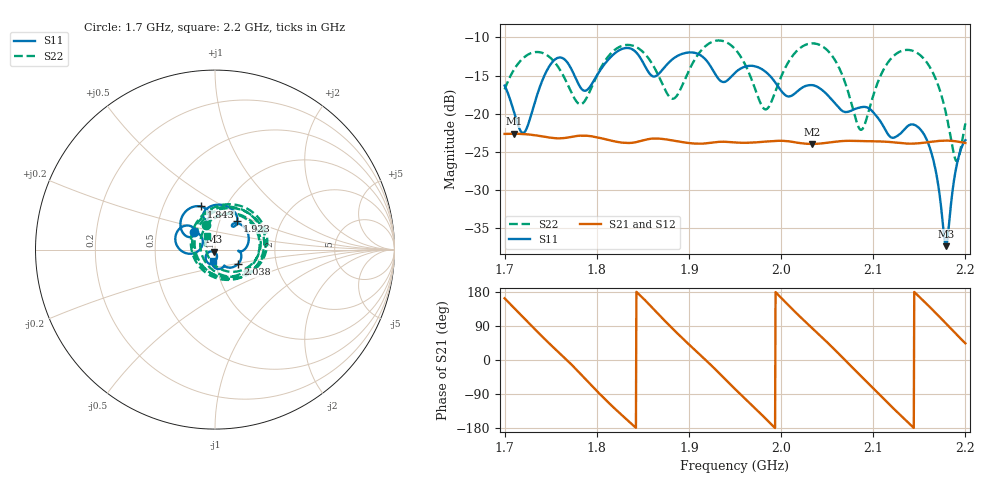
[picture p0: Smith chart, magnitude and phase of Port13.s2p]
# Hz S RI R 50
! CMT, CMT808U, 21440046, 21.4.3/4
! Date: 4/9/2026 1:50:52 AM
! Data: Format (Calibration Info)
! Freq	S11:Re/Im(F2)	S41:Re/Im(F2)	S14:Re/Im(F2)	S44:Re/Im(F2)
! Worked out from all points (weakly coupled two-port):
!   1001 points, 1.7 GHz to 2.2 GHz, reference 50 ohm
!   highest |S21| = -22.62 dB at 1.71 GHz (marker M1); lowest = -24.0 dB at 2.034 GHz (marker M2)
!   lowest |S11| = -37.4 dB at 2.179 GHz (marker M3), VSWR 1.03, Z = 49.5 - j1.23 ohm
!   |S11| at or under -10 dB: start of sweep to end of sweep
!   |S22| runs from -26.2 to -10.4 dB; largest |S21 - S12| = 0.001
!   S11 on the Smith chart (normalised r, x): 1.7 GHz: 0.78, +0.15; 1.843 GHz: 0.77, +0.39; 1.923 GHz: 1.21, +0.41; 2.038 GHz: 1.27, -0.21; 2.2 GHz: 0.97, -0.13
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1.7e9  -0.1183 0.0966  -0.0704 0.0218  -0.0703 0.0209  -0.0524 0.1344
1.7105e9  -0.0741 0.0687  -0.0539 0.0507  -0.0543 0.0498  0.0308 0.1934
1.722e9  -0.0748 0.0142  -0.0228 0.0698  -0.0235 0.0693  0.1448 0.1867
1.744e9  -0.1818 -0.0108  0.0413 0.0572  0.0404 0.0574  0.2458 -0.00369
1.7835e9  -0.1107 0.0942  0.0554 -0.0457  0.0558 -0.0448  -0.1055 -0.0474
1.8145e9  -0.1924 0.1314  -0.0299 -0.0598  -0.029 -0.06  0.0564 0.2386
1.8425e9  -0.0794 0.2404  -0.065 -0.00114  -0.0648 -0.00196  0.2733 0.0188
1.867e9  -0.0588 0.1719  -0.0351 0.0591  -0.0357 0.0584  0.0557 -0.1684
1.8925e9  -0.00928 0.2463  0.0341 0.0555  0.0332 0.0558  -0.1312 0.0769
1.9235e9  0.1253 0.1617  0.0629 -0.0137  0.0629 -0.0128  0.1897 0.2224
1.95e9  0.1123 0.1476  0.0152 -0.063  0.0161 -0.0626  0.2546 -0.0746
1.9835e9  0.1844 0.0343  -0.0596 -0.0275  -0.0591 -0.0283  -0.0997 -0.038
2.01e9  0.1299 -0.00648  -0.0499 0.0427  -0.0504 0.0418  0.0346 0.2254
2.0335e9  0.1394 -0.0653  0.00579 0.063  0.00484 0.0631  0.2656 0.1138
2.038e9  0.1281 -0.0807  0.0169 0.0611  0.016 0.0613  0.28 0.0641
2.0635e9  0.0553 -0.0929  0.0639 0.0163  0.0635 0.0172  0.1285 -0.149
2.0865e9  0.0366 -0.1039  0.0492 -0.0443  0.0497 -0.0435  -0.0744 -0.0248
2.117e9  -0.0124 -0.0709  -0.0285 -0.0587  -0.0277 -0.059  0.0897 0.2018
2.156e9  -0.0523 -0.0489  -0.0574 0.0296  -0.0578 0.0287  0.2133 -0.072
2.179e9  -0.00537 -0.0124  -0.00705 0.0662  -0.00798 0.0661  0.0149 -0.0991
2.19e9  0.0111 -0.0428  0.0243 0.0612  0.0234 0.0615  -0.0458 -0.0178
2.2e9  -0.0121 -0.0659  0.0462 0.0446  0.0456 0.0453  -0.0439 0.0744
